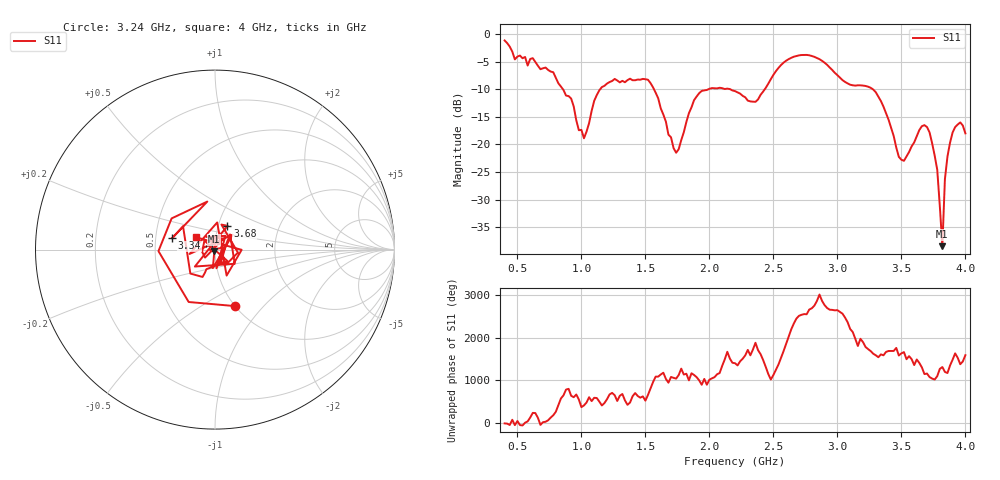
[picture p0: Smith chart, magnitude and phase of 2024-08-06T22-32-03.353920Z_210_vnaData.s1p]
!Created with skrf (http://scikit-rf.org).
# Hz S RI R 50.0
!freq ReS11 ImS11
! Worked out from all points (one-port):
!   181 points, 400 MHz to 4 GHz, reference 50 ohm
!   lowest |S11| = -38.4 dB at 3.82 GHz (marker M1), VSWR 1.02, Z = 49.2 - j0.873 ohm
!   |S11| at or under -10 dB: 856.3 MHz to 1.146 GHz (289.6 MHz wide, 28.9 % of centre); 1.567 GHz to 1.991 GHz (423.2 MHz wide, 23.8 % of centre); 3.278 GHz to end of sweep (the widest 3 of 4)
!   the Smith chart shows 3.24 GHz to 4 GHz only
!   S11 on the Smith chart (normalised r, x): 3.24 GHz: 1.00, -0.71; 3.34 GHz: 0.61, +0.08; 3.68 GHz: 1.11, +0.30; 4 GHz: 0.80, +0.11
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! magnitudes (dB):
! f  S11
! 400 MHz  -1.1
! 480 MHz  -4.6
! 620 MHz  -4.3
! 860 MHz  -10.1
! 1.02 GHz  -18.9
! 1.14 GHz  -10.2
! 1.3 GHz  -8.7
! 1.52 GHz  -8.3
! 1.72 GHz  -20.7
! 1.76 GHz  -20.9
! 1.92 GHz  -10.7
! 2.2 GHz  -10.3
! 2.36 GHz  -12.3
! 2.66 GHz  -4.1
! 2.86 GHz  -4.5
! 3.1 GHz  -9.2
! 3.24 GHz  -9.5
! 3.34 GHz  -12.1
! 3.48 GHz  -22.2
! 3.56 GHz  -21.4
! 3.68 GHz  -16.5
! 3.72 GHz  -17.8
! 3.78 GHz  -24.6
! 3.82 GHz  -38.4
! 3.84 GHz  -26.3
! 3.88 GHz  -19.7
! 3.96 GHz  -16.0
! 4 GHz  -18.0
